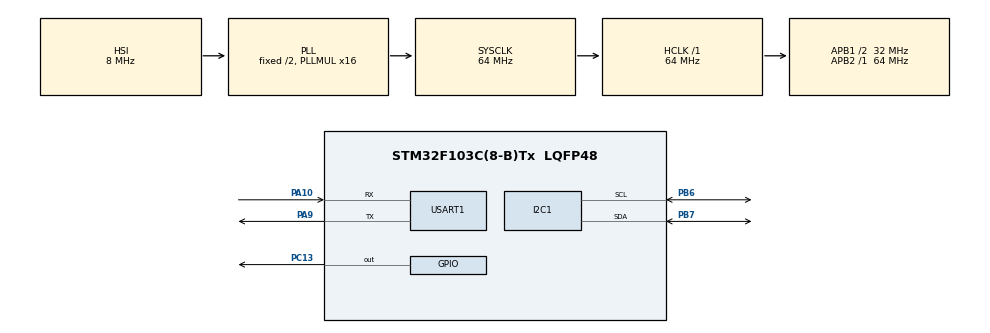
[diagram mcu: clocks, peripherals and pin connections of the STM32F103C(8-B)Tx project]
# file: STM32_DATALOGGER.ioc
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Mcu.Family=STM32F1
Mcu.Name=STM32F103C(8-B)Tx
Mcu.Package=LQFP48
NVIC.PriorityGroup=NVIC_PRIORITYGROUP_4
NVIC.USART1_IRQn=true\:1\:0\:true\:false\:true\:true\:true\:true
PA10.Mode=Asynchronous
PA10.Signal=USART1_RX
PA13.Mode=Serial_Wire
PA13.Signal=SYS_JTMS-SWDIO
PA14.Mode=Serial_Wire
PA14.Signal=SYS_JTCK-SWCLK
PA9.Mode=Asynchronous
PA9.Signal=USART1_TX
PB6.Mode=I2C
PB6.Signal=I2C1_SCL
PB7.Mode=I2C
PB7.Signal=I2C1_SDA
PC13-TAMPER-RTC.Signal=GPIO_Output
PD0-OSC_IN.Mode=HSE-External-Oscillator
PD0-OSC_IN.Signal=RCC_OSC_IN
PD1-OSC_OUT.Mode=HSE-External-Oscillator
PD1-OSC_OUT.Signal=RCC_OSC_OUT
ProjectManager.HeapSize=0x200
ProjectManager.StackSize=0x400
ProjectManager.TargetToolchain=STM32CubeIDE
RCC.AHBFreq_Value=64000000
RCC.APB1CLKDivider=RCC_HCLK_DIV2
RCC.APB1Freq_Value=32000000
RCC.APB1TimFreq_Value=64000000
RCC.APB2Freq_Value=64000000
RCC.APB2TimFreq_Value=64000000
RCC.HCLKFreq_Value=64000000
RCC.PLLMUL=RCC_PLL_MUL16
RCC.SYSCLKFreq_VALUE=64000000
RCC.SYSCLKSource=RCC_SYSCLKSOURCE_PLLCLK
RCC.USBFreq_Value=64000000
USART1.VirtualMode=VM_ASYNC
board=custom

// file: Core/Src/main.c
/* USER CODE BEGIN Header */
/**
  ******************************************************************************
  * @file           : main.c
  * @brief          : Main program body
  ******************************************************************************
  * @attention
  *
  * Copyright (c) 2025 STMicroelectronics.
  * All rights reserved.
  *
  * This software is licensed under terms that can be found in the LICENSE file
  * in the root directory of this software component.
  * If no LICENSE file comes with this software, it is provided AS-IS.
  *
  ******************************************************************************
  */
/* USER CODE END Header */
#include "main.h"

/* USER CODE BEGIN Includes */

#include "uart.h"
#include "sht3x.h"

/* USER CODE END Includes */

/* USER CODE BEGIN PD */

#define timeData 5000

/* USER CODE END PD */

I2C_HandleTypeDef hi2c1;

UART_HandleTypeDef huart1;

/* USER CODE BEGIN PV */

sht3x_handle_t g_sht3x;

static float outT = 0.0f;
static float outRH = 0.0f;
static uint32_t next_fetch_ms = 0;

/* USER CODE END PV */

void SystemClock_Config(void);
static void MX_GPIO_Init(void);
static void MX_I2C1_Init(void);
static void MX_USART1_UART_Init(void);

int main(void)
{

  /* MCU Configuration--------------------------------------------------------*/

  /* Reset of all peripherals, Initializes the Flash interface and the Systick. */
  HAL_Init();

  /* Configure the system clock */
  SystemClock_Config();

  /* Initialize all configured peripherals */
  MX_GPIO_Init();
  MX_I2C1_Init();
  MX_USART1_UART_Init();
  /* USER CODE BEGIN 2 */

  UART_Init(&huart1);
  SHT3X_Init(&g_sht3x, &hi2c1, SHT3X_I2C_ADDR_GND);

  /* USER CODE END 2 */

  /* Infinite loop */
  while (1)
  {

    /* USER CODE BEGIN 3 */

	UART_Handle();

	if (SHT3X_IS_PERIODIC_STATE(g_sht3x.currentState))
	{
		uint32_t now = HAL_GetTick();
		if ((int32_t)(now - next_fetch_ms) >= 0)
		{
			SHT3X_FetchData(&g_sht3x, &outT, &outRH);
			next_fetch_ms += timeData;
		}
	}
	__WFI(); // Wait For Interrupt
  }
  /* USER CODE END 3 */
}

void SystemClock_Config(void)
{
  RCC_OscInitTypeDef RCC_OscInitStruct = {0};
  RCC_ClkInitTypeDef RCC_ClkInitStruct = {0};

  /** Initializes the RCC Oscillators according to the specified parameters
  * in the RCC_OscInitTypeDef structure.
  */
  RCC_OscInitStruct.OscillatorType = RCC_OSCILLATORTYPE_HSI;
  RCC_OscInitStruct.HSIState = RCC_HSI_ON;
  RCC_OscInitStruct.HSICalibrationValue = RCC_HSICALIBRATION_DEFAULT;
  RCC_OscInitStruct.PLL.PLLState = RCC_PLL_ON;
  RCC_OscInitStruct.PLL.PLLSource = RCC_PLLSOURCE_HSI_DIV2;
  RCC_OscInitStruct.PLL.PLLMUL = RCC_PLL_MUL16;
  if (HAL_RCC_OscConfig(&RCC_OscInitStruct) != HAL_OK)
  {
    Error_Handler();
  }

  /** Initializes the CPU, AHB and APB buses clocks
  */
  RCC_ClkInitStruct.ClockType = RCC_CLOCKTYPE_HCLK|RCC_CLOCKTYPE_SYSCLK
                              |RCC_CLOCKTYPE_PCLK1|RCC_CLOCKTYPE_PCLK2;
  RCC_ClkInitStruct.SYSCLKSource = RCC_SYSCLKSOURCE_PLLCLK;
  RCC_ClkInitStruct.AHBCLKDivider = RCC_SYSCLK_DIV1;
  RCC_ClkInitStruct.APB1CLKDivider = RCC_HCLK_DIV2;
  RCC_ClkInitStruct.APB2CLKDivider = RCC_HCLK_DIV1;

  if (HAL_RCC_ClockConfig(&RCC_ClkInitStruct, FLASH_LATENCY_2) != HAL_OK)
  {
    Error_Handler();
  }
}

static void MX_I2C1_Init(void)
{

  hi2c1.Instance = I2C1;
  hi2c1.Init.ClockSpeed = 100000;
  hi2c1.Init.DutyCycle = I2C_DUTYCYCLE_2;
  hi2c1.Init.OwnAddress1 = 0;
  hi2c1.Init.AddressingMode = I2C_ADDRESSINGMODE_7BIT;
  hi2c1.Init.DualAddressMode = I2C_DUALADDRESS_DISABLE;
  hi2c1.Init.OwnAddress2 = 0;
  hi2c1.Init.GeneralCallMode = I2C_GENERALCALL_DISABLE;
  hi2c1.Init.NoStretchMode = I2C_NOSTRETCH_DISABLE;
  if (HAL_I2C_Init(&hi2c1) != HAL_OK)
  {
    Error_Handler();
  }

}

static void MX_USART1_UART_Init(void)
{

  huart1.Instance = USART1;
  huart1.Init.BaudRate = 115200;
  huart1.Init.WordLength = UART_WORDLENGTH_8B;
  huart1.Init.StopBits = UART_STOPBITS_1;
  huart1.Init.Parity = UART_PARITY_NONE;
  huart1.Init.Mode = UART_MODE_TX_RX;
  huart1.Init.HwFlowCtl = UART_HWCONTROL_NONE;
  huart1.Init.OverSampling = UART_OVERSAMPLING_16;
  if (HAL_UART_Init(&huart1) != HAL_OK)
  {
    Error_Handler();
  }

}

static void MX_GPIO_Init(void)
{
  GPIO_InitTypeDef GPIO_InitStruct = {0};

  /* GPIO Ports Clock Enable */
  __HAL_RCC_GPIOC_CLK_ENABLE();
  __HAL_RCC_GPIOD_CLK_ENABLE();
  __HAL_RCC_GPIOA_CLK_ENABLE();
  __HAL_RCC_GPIOB_CLK_ENABLE();

  /*Configure GPIO pin Output Level */
  HAL_GPIO_WritePin(GPIOC, GPIO_PIN_13, GPIO_PIN_RESET);

  /*Configure GPIO pin : PC13 */
  GPIO_InitStruct.Pin = GPIO_PIN_13;
  GPIO_InitStruct.Mode = GPIO_MODE_OUTPUT_PP;
  GPIO_InitStruct.Pull = GPIO_NOPULL;
  GPIO_InitStruct.Speed = GPIO_SPEED_FREQ_LOW;
  HAL_GPIO_Init(GPIOC, &GPIO_InitStruct);

}

void Error_Handler(void)
{
  __disable_irq();
  while (1)
  {
  }
}
